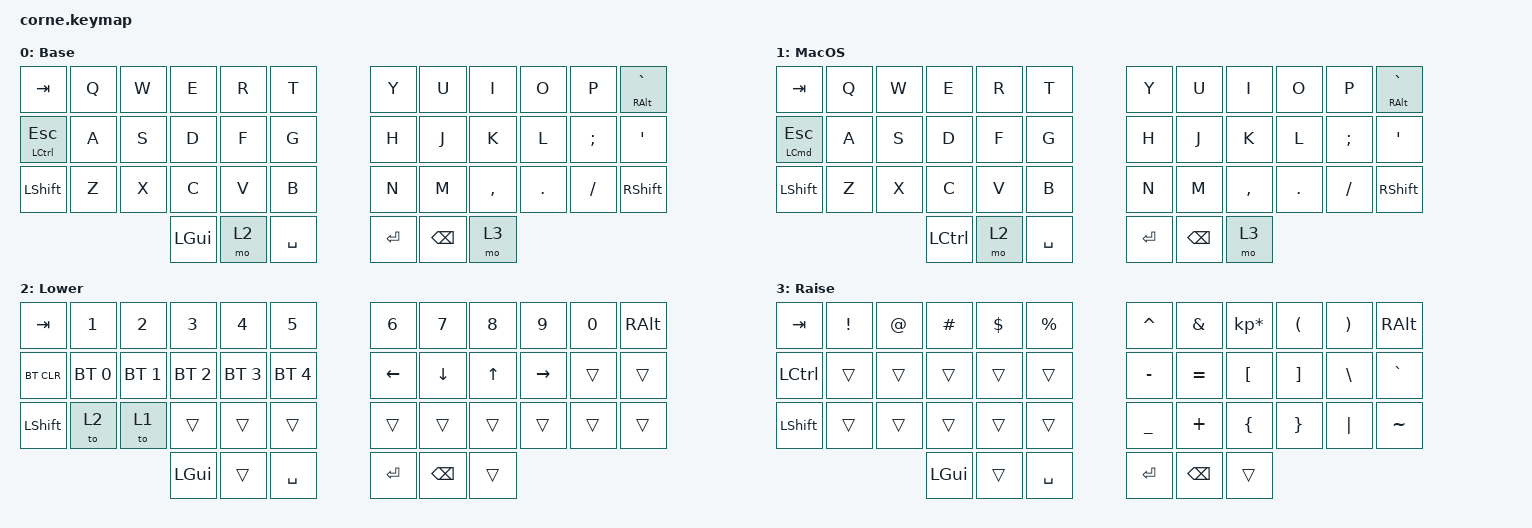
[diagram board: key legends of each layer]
/*
 * Copyright (c) 2020 The ZMK Contributors
 *
 * SPDX-License-Identifier: MIT
 */

#include <behaviors.dtsi>
#include <dt-bindings/zmk/keys.h>
#include <dt-bindings/zmk/bt.h>


/ {
        keymap {
                compatible = "zmk,keymap";

                default_layer {
// -----------------------------------------------------------------------------------------
// |   TAB  |  Q  |  W  |  E  |  R  |  T  |   |  Y  |  U   |  I  |  O  |  P  | `/ALT |
// |ESC/CTRL|  A  |  S  |  D  |  F  |  G  |   |  H  |  J   |  K  |  L  |  ;  |  '   |
// |  SHFT  |  Z  |  X  |  C  |  V  |  B  |   |  N  |  M   |  ,  |  .  |  /  | SHFT |
//                    | GUI | LWR | SPC |   | ENT | BSPC | RSE |
                        display-name = "Base";
                        bindings = <
   &kp TAB       &kp Q &kp W &kp E &kp R &kp T   &kp Y &kp U  &kp I     &kp O   &kp P    &mt RALT GRAVE
   &mt LCTRL ESC &kp A &kp S &kp D &kp F &kp G   &kp H &kp J  &kp K     &kp L   &kp SEMI &kp SQT
   &kp LSHFT     &kp Z &kp X &kp C &kp V &kp B   &kp N &kp M  &kp COMMA &kp DOT &kp FSLH &kp RSHIFT
                  &kp LGUI &mo 2 &kp SPACE   &kp RET &kp BSPC &mo 3
                        >;
                };
                mac_layer {
// -----------------------------------------------------------------------------------------
// |   TAB |  Q  |  W  |  E  |  R  |  T  |   |  Y  |  U   |  I  |  O  |  P  | `/ALT |
// |ESC/CMD|  A  |  S  |  D  |  F  |  G  |   |  H  |  J   |  K  |  L  |  ;  |  '   |
// |  SHFT |  Z  |  X  |  C  |  V  |  B  |   |  N  |  M   |  ,  |  .  |  /  | SHFT |
//                    | CTRL | LWR | SPC |   | ENT | BSPC | RSE |
                        display-name = "MacOS";
                        bindings = <
   &kp TAB       &kp Q &kp W &kp E &kp R &kp T   &kp Y &kp U  &kp I     &kp O   &kp P    &mt RALT GRAVE
   &mt LCMD ESC  &kp A &kp S &kp D &kp F &kp G   &kp H &kp J  &kp K     &kp L   &kp SEMI &kp SQT
   &kp LSHFT     &kp Z &kp X &kp C &kp V &kp B   &kp N &kp M  &kp COMMA &kp DOT &kp FSLH &kp RSHIFT
                  &kp LCTRL &mo 2 &kp SPACE   &kp RET &kp BSPC &mo 3
                        >;
                };
                lower_layer {
// -----------------------------------------------------------------------------------------
// |  TAB |  1  |  2  |  3  |  4  |  5  |   |  6  |  7  |  8  |  9  |  0  | ALT |
// | BTCLR| BT1 | BT2 | BT3 | BT4 | BT5 |   | LFT | DWN |  UP | RGT |     |      |
// | SHFT | WIN | MAC |     |     |     |   |     |     |     |     |     |      |
//                    | GUI |     | SPC |   | ENT | BSPC |    |
                        display-name = "Lower";
                        bindings = <
   &kp TAB    &kp N1       &kp N2       &kp N3       &kp N4       &kp N5         &kp N6   &kp N7   &kp N8 &kp N9    &kp N0 &kp RALT
   &bt BT_CLR &bt BT_SEL 0 &bt BT_SEL 1 &bt BT_SEL 2 &bt BT_SEL 3 &bt BT_SEL 4   &kp LEFT &kp DOWN &kp UP &kp RIGHT &trans &trans
   &kp LSHFT  &to 2        &to 1        &trans       &trans       &trans         &trans   &trans   &trans &trans    &trans &trans
                           &kp LGUI     &trans       &kp SPACE    &kp RET        &kp BSPC &trans
                        >;
                };

                raise_layer {
// -----------------------------------------------------------------------------------------
// |  TAB |  !  |  @  |  #  |  $  |  %  |   |  ^  |  &  |  *  |  (  |  )  | ALT |
// | CTRL |     |     |     |     |     |   |  -  |  =  |  [  |  ]  |  \  |  `   |
// | SHFT |     |     |     |     |     |   |  _  |  +  |  {  |  }  | "|" |  ~   |
//                    | GUI |     | SPC |   | ENT | BSPC |    |
                        display-name = "Raise";
                        bindings = <
   &kp  TAB  &kp EXCL &kp AT &kp HASH &kp DLLR &kp PRCNT   &kp CARET &kp AMPS  &kp KP_MULTIPLY &kp LPAR &kp RPAR &kp RALT
   &kp LCTRL &trans   &trans &trans   &trans   &trans      &kp MINUS &kp EQUAL &kp LBKT        &kp RBKT &kp BSLH &kp GRAVE
   &kp LSHFT &trans   &trans &trans   &trans   &trans      &kp UNDER &kp PLUS  &kp LBRC        &kp RBRC &kp PIPE &kp TILDE
                    	     &kp LGUI &trans   &kp SPACE   &kp RET   &kp BSPC  &trans
                        >;
                };

                extra_1 {
                        status = "reserved";
                };

                extra_2 {
                        status = "reserved";
                };

                extra_3 {
                        status = "reserved";
                };
        };
        combos {
            compatible = "zmk,combos";
            combo_caps {
                timeout-ms = <100>;
                key-positions = <24 35>;
                bindings = <&kp CAPS>;
            };
        };
};
